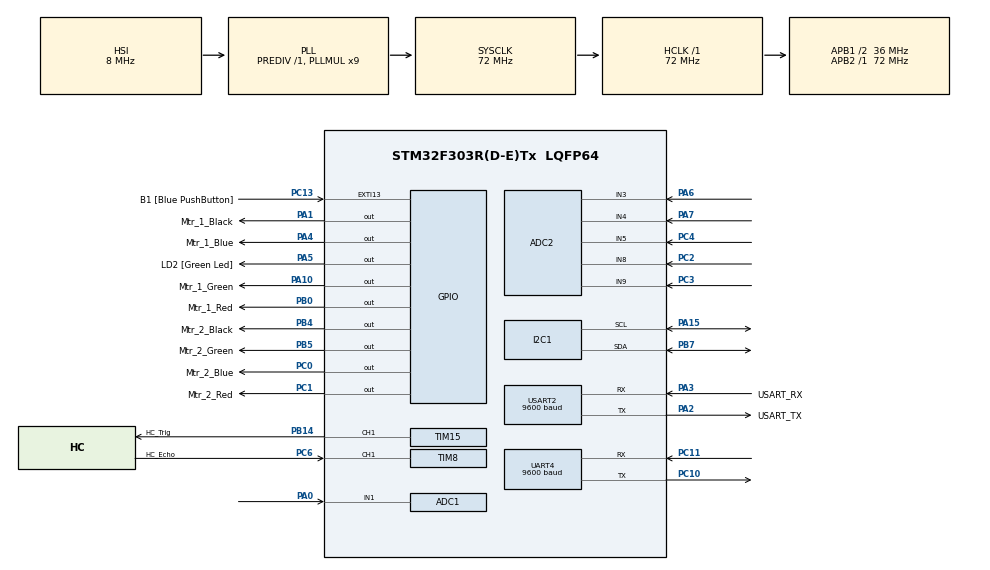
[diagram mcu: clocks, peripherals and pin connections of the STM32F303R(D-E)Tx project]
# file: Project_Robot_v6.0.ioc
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ADC1.Channel-2\#ChannelRegularConversion=ADC_CHANNEL_1
ADC1.ContinuousConvMode=DISABLE
ADC1.ExternalTrigConv=ADC_SOFTWARE_START
ADC1.NbrOfConversion=1
ADC1.NbrOfConversionFlag=1
ADC1.Offset-2\#ChannelRegularConversion=0
ADC1.OffsetNumber-2\#ChannelRegularConversion=ADC_OFFSET_NONE
ADC1.Rank-2\#ChannelRegularConversion=1
ADC1.SamplingTime-2\#ChannelRegularConversion=ADC_SAMPLETIME_601CYCLES_5
ADC1.SamplingTimeOPAMP-2\#ChannelRegularConversion=ADC_SAMPLETIME_61CYCLES_5
ADC1.master=1
ADC2.Channel-1\#ChannelRegularConversion=ADC_CHANNEL_3
ADC2.Channel-2\#ChannelRegularConversion=ADC_CHANNEL_4
ADC2.Channel-3\#ChannelRegularConversion=ADC_CHANNEL_5
ADC2.Channel-4\#ChannelRegularConversion=ADC_CHANNEL_8
ADC2.Channel-5\#ChannelRegularConversion=ADC_CHANNEL_9
ADC2.ContinuousConvMode=DISABLE
ADC2.NbrOfConversion=5
ADC2.NbrOfConversionFlag=1
ADC2.Offset-1\#ChannelRegularConversion=0
ADC2.Offset-2\#ChannelRegularConversion=0
ADC2.Offset-3\#ChannelRegularConversion=0
ADC2.Offset-4\#ChannelRegularConversion=0
ADC2.Offset-5\#ChannelRegularConversion=0
ADC2.OffsetNumber-1\#ChannelRegularConversion=ADC_OFFSET_NONE
ADC2.OffsetNumber-2\#ChannelRegularConversion=ADC_OFFSET_NONE
ADC2.OffsetNumber-3\#ChannelRegularConversion=ADC_OFFSET_NONE
ADC2.OffsetNumber-4\#ChannelRegularConversion=ADC_OFFSET_NONE
ADC2.OffsetNumber-5\#ChannelRegularConversion=ADC_OFFSET_NONE
ADC2.Rank-1\#ChannelRegularConversion=1
ADC2.Rank-2\#ChannelRegularConversion=2
ADC2.Rank-3\#ChannelRegularConversion=3
ADC2.Rank-4\#ChannelRegularConversion=4
ADC2.Rank-5\#ChannelRegularConversion=5
ADC2.SamplingTime-1\#ChannelRegularConversion=ADC_SAMPLETIME_601CYCLES_5
ADC2.SamplingTime-2\#ChannelRegularConversion=ADC_SAMPLETIME_601CYCLES_5
ADC2.SamplingTime-3\#ChannelRegularConversion=ADC_SAMPLETIME_601CYCLES_5
ADC2.SamplingTime-4\#ChannelRegularConversion=ADC_SAMPLETIME_601CYCLES_5
ADC2.SamplingTime-5\#ChannelRegularConversion=ADC_SAMPLETIME_601CYCLES_5
ADC2.SamplingTimeOPAMP-2\#ChannelRegularConversion=ADC_SAMPLETIME_61CYCLES_5
ADC2.SamplingTimeOPAMP-3\#ChannelRegularConversion=ADC_SAMPLETIME_61CYCLES_5
ADC2.SamplingTimeOPAMP-4\#ChannelRegularConversion=ADC_SAMPLETIME_61CYCLES_5
ADC2.SamplingTimeOPAMP-5\#ChannelRegularConversion=ADC_SAMPLETIME_61CYCLES_5
ADC2.SequencerNbRanks=1
Dma.ADC2.0.Direction=DMA_PERIPH_TO_MEMORY
Dma.ADC2.0.Instance=DMA2_Channel1
Dma.ADC2.0.MemDataAlignment=DMA_MDATAALIGN_HALFWORD
Dma.ADC2.0.MemInc=DMA_MINC_ENABLE
Dma.ADC2.0.Mode=DMA_CIRCULAR
Dma.ADC2.0.PeriphDataAlignment=DMA_PDATAALIGN_HALFWORD
Dma.ADC2.0.PeriphInc=DMA_PINC_DISABLE
Dma.ADC2.0.Priority=DMA_PRIORITY_LOW
Dma.Request0=ADC2
Dma.Request1=USART2_RX
Dma.Request2=UART4_RX
Dma.UART4_RX.2.Direction=DMA_PERIPH_TO_MEMORY
Dma.UART4_RX.2.Instance=DMA2_Channel3
Dma.UART4_RX.2.MemDataAlignment=DMA_MDATAALIGN_BYTE
Dma.UART4_RX.2.MemInc=DMA_MINC_ENABLE
Dma.UART4_RX.2.Mode=DMA_NORMAL
Dma.UART4_RX.2.PeriphDataAlignment=DMA_PDATAALIGN_BYTE
Dma.UART4_RX.2.PeriphInc=DMA_PINC_DISABLE
Dma.UART4_RX.2.Priority=DMA_PRIORITY_LOW
Dma.USART2_RX.1.Direction=DMA_PERIPH_TO_MEMORY
Dma.USART2_RX.1.Instance=DMA1_Channel6
Dma.USART2_RX.1.MemDataAlignment=DMA_MDATAALIGN_BYTE
Dma.USART2_RX.1.MemInc=DMA_MINC_ENABLE
Dma.USART2_RX.1.Mode=DMA_NORMAL
Dma.USART2_RX.1.PeriphDataAlignment=DMA_PDATAALIGN_BYTE
Dma.USART2_RX.1.PeriphInc=DMA_PINC_DISABLE
Dma.USART2_RX.1.Priority=DMA_PRIORITY_LOW
I2C1.Timing=0x00201D2B
Mcu.Family=STM32F3
Mcu.Name=STM32F303R(D-E)Tx
Mcu.Package=LQFP64
NVIC.DMA1_Channel6_IRQn=true\:0\:0\:false\:false\:true\:false\:true\:true
NVIC.DMA2_Channel1_IRQn=true\:0\:0\:false\:false\:true\:false\:true\:true
NVIC.DMA2_Channel3_IRQn=true\:0\:0\:false\:false\:true\:false\:true\:true
NVIC.PriorityGroup=NVIC_PRIORITYGROUP_0
NVIC.TIM1_TRG_COM_TIM17_IRQn=true\:0\:0\:false\:false\:true\:true\:true\:true
NVIC.TIM1_UP_TIM16_IRQn=true\:0\:0\:false\:false\:true\:true\:true\:true
NVIC.TIM8_CC_IRQn=true\:0\:0\:false\:false\:true\:true\:true\:true
NVIC.UART4_IRQn=true\:0\:0\:false\:false\:true\:true\:true\:true
NVIC.USART2_IRQn=true\:0\:0\:false\:false\:true\:true\:true\:true
PA0.Mode=IN1-Single-Ended
PA0.Signal=ADC1_IN1
PA1.GPIO_Label=Mtr_1_Black
PA1.GPIO_Speed=GPIO_SPEED_FREQ_HIGH
PA1.Signal=GPIO_Output
PA10.GPIO_Label=Mtr_1_Green
PA10.Signal=GPIO_Output
PA13.GPIO_Label=TMS
PA13.Mode=Serial_Wire
PA13.Signal=SYS_JTMS-SWDIO
PA14.GPIO_Label=TCK
PA14.Mode=Serial_Wire
PA14.Signal=SYS_JTCK-SWCLK
PA15.Mode=I2C
PA15.Signal=I2C1_SCL
PA2.GPIO_Label=USART_TX
PA2.GPIO_Mode=GPIO_MODE_AF_PP
PA2.GPIO_PuPd=GPIO_NOPULL
PA2.GPIO_Speed=GPIO_SPEED_FREQ_LOW
PA2.Mode=Asynchronous
PA2.Signal=USART2_TX
PA3.GPIO_Label=USART_RX
PA3.GPIO_Mode=GPIO_MODE_AF_PP
PA3.GPIO_PuPd=GPIO_NOPULL
PA3.GPIO_Speed=GPIO_SPEED_FREQ_LOW
PA3.Mode=Asynchronous
PA3.Signal=USART2_RX
PA4.GPIO_Label=Mtr_1_Blue
PA4.GPIO_Speed=GPIO_SPEED_FREQ_HIGH
PA4.Signal=GPIO_Output
PA5.GPIO_Label=LD2 [Green Led]
PA5.GPIO_Mode=GPIO_MODE_OUTPUT_PP
PA5.GPIO_PuPd=GPIO_NOPULL
PA5.GPIO_Speed=GPIO_SPEED_FREQ_LOW
PA5.Signal=GPIO_Output
PA6.Mode=IN3-Single-Ended
PA6.Signal=ADC2_IN3
PA7.Mode=IN4-Single-Ended
PA7.Signal=ADC2_IN4
PB0.GPIO_Label=Mtr_1_Red
PB0.GPIO_Speed=GPIO_SPEED_FREQ_HIGH
PB0.Signal=GPIO_Output
PB14.GPIO_Label=HC_Trig
PB14.Signal=S_TIM15_CH1
PB3.GPIO_Label=SWO
PB3.Signal=SYS_JTDO-TRACESWO
PB4.GPIO_Label=Mtr_2_Black
PB4.Signal=GPIO_Output
PB5.GPIO_Label=Mtr_2_Green
PB5.Signal=GPIO_Output
PB7.Mode=I2C
PB7.Signal=I2C1_SDA
PC0.GPIO_Label=Mtr_2_Blue
PC0.GPIO_Speed=GPIO_SPEED_FREQ_HIGH
PC0.Signal=GPIO_Output
PC1.GPIO_Label=Mtr_2_Red
PC1.GPIO_Speed=GPIO_SPEED_FREQ_HIGH
PC1.Signal=GPIO_Output
PC10.Mode=Asynchronous
PC10.Signal=UART4_TX
PC11.Mode=Asynchronous
PC11.Signal=UART4_RX
PC13.GPIO_Label=B1 [Blue PushButton]
PC13.GPIO_ModeDefaultEXTI=GPIO_MODE_IT_FALLING
PC13.Signal=GPXTI13
PC14-OSC32_IN.Mode=LSE-External-Oscillator
PC14-OSC32_IN.Signal=RCC_OSC32_IN
PC15-OSC32_OUT.Mode=LSE-External-Oscillator
PC15-OSC32_OUT.Signal=RCC_OSC32_OUT
PC2.Signal=ADCx_IN8
PC3.Signal=ADCx_IN9
PC4.Mode=IN5-Single-Ended
PC4.Signal=ADC2_IN5
PC6.GPIO_Label=HC_Echo
PC6.Signal=S_TIM8_CH1
PF0-OSC_IN.Mode=HSE-External-Clock-Source
PF0-OSC_IN.Signal=RCC_OSC_IN
PF1-OSC_OUT.Signal=RCC_OSC_OUT
ProjectManager.HeapSize=0x200
ProjectManager.StackSize=0x400
ProjectManager.TargetToolchain=STM32CubeIDE
RCC.AHBFreq_Value=72000000
RCC.APB1CLKDivider=RCC_HCLK_DIV2
RCC.APB1Freq_Value=36000000
RCC.APB1TimFreq_Value=72000000
RCC.APB2Freq_Value=72000000
RCC.APB2TimFreq_Value=72000000
RCC.CortexFreq_Value=72000000
RCC.HCLKFreq_Value=72000000
RCC.HSE_VALUE=8000000
RCC.HSI_VALUE=8000000
RCC.PLLM=8
RCC.PLLMUL=RCC_PLL_MUL9
RCC.PLLN=336
RCC.PLLP=RCC_PLLP_DIV4
RCC.PLLQ=7
RCC.RCC_PLLsource_Clock_Source_FROM_HSE=RCC_HSE_PREDIV_DIV2
RCC.SYSCLKFreq_VALUE=72000000
RCC.SYSCLKSourceVirtual=RCC_SYSCLKSOURCE_PLLCLK
RCC.USBFreq_Value=72000000
SH.ADCx_IN8.0=ADC2_IN8,IN8-Single-Ended
SH.ADCx_IN9.0=ADC2_IN9,IN9-Single-Ended
SH.S_TIM15_CH1.0=TIM15_CH1,PWM Generation1 CH1
SH.S_TIM8_CH1.0=TIM8_CH1,PWM_Input_1
TIM15.Channel-PWM\ Generation1\ CH1=TIM_CHANNEL_1
TIM15.Period=62500-1
TIM15.Prescaler=72-1
TIM15.Pulse-PWM\ Generation1\ CH1=10
TIM16.AutoReloadPreload=TIM_AUTORELOAD_PRELOAD_ENABLE
TIM16.Period=100-1
TIM16.Prescaler=72-1
TIM17.Period=125-1
TIM17.Prescaler=72-1
TIM8.Prescaler=72-1
UART4.BaudRate=9600
USART2.BaudRate=9600
USART2.VirtualMode-Asynchronous=VM_ASYNC
VP_TIM15_VS_ClockSourceINT.Mode=Internal
VP_TIM16_VS_ClockSourceINT.Mode=Enable_Timer
VP_TIM17_VS_ClockSourceINT.Mode=Enable_Timer
VP_TIM8_VS_ClockSourceINT.Mode=Internal
board=NUCLEO-F303RE

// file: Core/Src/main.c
/* USER CODE BEGIN Header */
/**
 ******************************************************************************
 * @file           : main.c
 * @brief          : Main program body
 ******************************************************************************
 * @attention
 *
 * Copyright (c) 2025 STMicroelectronics.
 * All rights reserved.
 *
 * This software is licensed under terms that can be found in the LICENSE file
 * in the root directory of this software component.
 * If no LICENSE file comes with this software, it is provided AS-IS.
 *
 ******************************************************************************
 */
/* USER CODE END Header */
#include "main.h"
#include "adc.h"
#include "dma.h"
#include "i2c.h"
#include "tim.h"
#include "usart.h"
#include "gpio.h"

/* USER CODE BEGIN Includes */

#include "step_motor_driver.h"
#include "audio_save.h"
#include "adc_processing.h"
#include "hc_sr_04.h"
#include "i2c-lcd.h"
#include <math.h>
#include "stm_esp_uart.h"

/* USER CODE END Includes */

void SystemClock_Config(void);

/* USER CODE BEGIN 0 */
//float PID_err = 0;
//float PID_out_val = 0;
//PID pid = PID_INIT;

/* USER CODE END 0 */

int main(void)
{

  /* MCU Configuration--------------------------------------------------------*/

  /* Reset of all peripherals, Initializes the Flash interface and the Systick. */
  HAL_Init();

  /* Configure the system clock */
  SystemClock_Config();

  /* Initialize all configured peripherals */
  MX_GPIO_Init();
  MX_DMA_Init();
  MX_USART2_UART_Init();
  MX_TIM16_Init();
  MX_ADC1_Init();
  MX_TIM17_Init();
  MX_ADC2_Init();
  MX_TIM8_Init();
  MX_TIM15_Init();
  MX_UART4_Init();
  MX_I2C1_Init();
  /* USER CODE BEGIN 2 */
	extern struct us_sensor_str distance_sensor;
	hc_sr04_init(&distance_sensor, &htim8, &htim15, TIM_CHANNEL_1);

	lcd_init();
	HAL_TIM_Base_Start_IT(&htim16);
	HAL_TIM_Base_Start_IT(&htim17);

	HAL_ADCEx_Calibration_Start(&hadc1, ADC_SINGLE_ENDED);
	HAL_ADCEx_Calibration_Start(&hadc2, ADC_SINGLE_ENDED);
	HAL_ADC_Init(&hadc1);
	HAL_ADC_Init(&hadc2);

	lcd_send_string("SEARCHING  LIGHT");
	lcd_put_cur(1, 0);
	lcd_send_string("  IN PROGRESS");

	stm__start_UART_DMA();

  /* USER CODE END 2 */

  /* Infinite loop */
  /* USER CODE BEGIN WHILE */

	SM_STM_ESP_UART SM_STM_ESP_RXTX = SM_STM_UART_HALT;

	while (1) {
    /* USER CODE END WHILE */

    /* USER CODE BEGIN 3 */

		stm__parser_uart(&SM_STM_ESP_RXTX);

		stm__sm_uart_stm_esp(&SM_STM_ESP_RXTX);

	}
  /* USER CODE END 3 */
}

void SystemClock_Config(void)
{
  RCC_OscInitTypeDef RCC_OscInitStruct = {0};
  RCC_ClkInitTypeDef RCC_ClkInitStruct = {0};
  RCC_PeriphCLKInitTypeDef PeriphClkInit = {0};

  /** Initializes the RCC Oscillators according to the specified parameters
  * in the RCC_OscInitTypeDef structure.
  */
  RCC_OscInitStruct.OscillatorType = RCC_OSCILLATORTYPE_HSI;
  RCC_OscInitStruct.HSIState = RCC_HSI_ON;
  RCC_OscInitStruct.HSICalibrationValue = RCC_HSICALIBRATION_DEFAULT;
  RCC_OscInitStruct.PLL.PLLState = RCC_PLL_ON;
  RCC_OscInitStruct.PLL.PLLSource = RCC_PLLSOURCE_HSI;
  RCC_OscInitStruct.PLL.PLLMUL = RCC_PLL_MUL9;
  RCC_OscInitStruct.PLL.PREDIV = RCC_PREDIV_DIV1;
  if (HAL_RCC_OscConfig(&RCC_OscInitStruct) != HAL_OK)
  {
    Error_Handler();
  }

  /** Initializes the CPU, AHB and APB buses clocks
  */
  RCC_ClkInitStruct.ClockType = RCC_CLOCKTYPE_HCLK|RCC_CLOCKTYPE_SYSCLK
                              |RCC_CLOCKTYPE_PCLK1|RCC_CLOCKTYPE_PCLK2;
  RCC_ClkInitStruct.SYSCLKSource = RCC_SYSCLKSOURCE_PLLCLK;
  RCC_ClkInitStruct.AHBCLKDivider = RCC_SYSCLK_DIV1;
  RCC_ClkInitStruct.APB1CLKDivider = RCC_HCLK_DIV2;
  RCC_ClkInitStruct.APB2CLKDivider = RCC_HCLK_DIV1;

  if (HAL_RCC_ClockConfig(&RCC_ClkInitStruct, FLASH_LATENCY_2) != HAL_OK)
  {
    Error_Handler();
  }
  PeriphClkInit.PeriphClockSelection = RCC_PERIPHCLK_USART2|RCC_PERIPHCLK_UART4
                              |RCC_PERIPHCLK_I2C1|RCC_PERIPHCLK_TIM15
                              |RCC_PERIPHCLK_TIM16|RCC_PERIPHCLK_TIM17
                              |RCC_PERIPHCLK_TIM8|RCC_PERIPHCLK_ADC12;
  PeriphClkInit.Usart2ClockSelection = RCC_USART2CLKSOURCE_PCLK1;
  PeriphClkInit.Uart4ClockSelection = RCC_UART4CLKSOURCE_PCLK1;
  PeriphClkInit.Adc12ClockSelection = RCC_ADC12PLLCLK_DIV1;
  PeriphClkInit.I2c1ClockSelection = RCC_I2C1CLKSOURCE_HSI;
  PeriphClkInit.Tim15ClockSelection = RCC_TIM15CLK_HCLK;
  PeriphClkInit.Tim16ClockSelection = RCC_TIM16CLK_HCLK;
  PeriphClkInit.Tim17ClockSelection = RCC_TIM17CLK_HCLK;
  PeriphClkInit.Tim8ClockSelection = RCC_TIM8CLK_HCLK;
  if (HAL_RCCEx_PeriphCLKConfig(&PeriphClkInit) != HAL_OK)
  {
    Error_Handler();
  }
}

void Error_Handler(void)
{
	__disable_irq();
	while (1) {
	}
}
